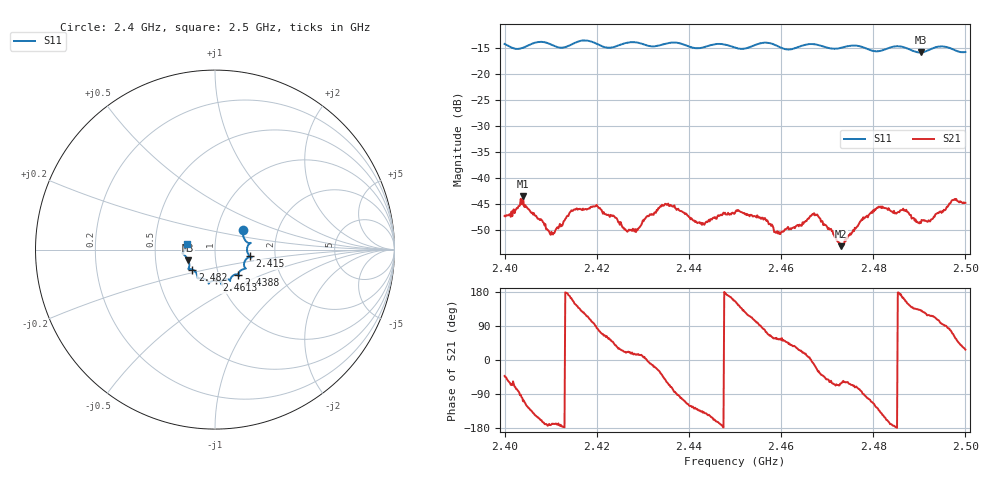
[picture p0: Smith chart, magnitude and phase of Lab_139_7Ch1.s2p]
# Hz S RI R 50
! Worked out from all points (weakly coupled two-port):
!   601 points, 2.4 GHz to 2.5 GHz, reference 50 ohm
!   highest |S21| = -43.39 dB at 2.404 GHz (marker M1); lowest = -53.0 dB at 2.473 GHz (marker M2)
!   lowest |S11| = -15.9 dB at 2.4903 GHz (marker M3), VSWR 1.38, Z = 36.8 - j4.46 ohm
!   |S11| at or under -10 dB: start of sweep to end of sweep
!   S12 and S22 are empty: the file has one direction only
!   S11 on the Smith chart (normalised r, x): 2.4 GHz: 1.33, +0.31; 2.415 GHz: 1.47, -0.11; 2.4388 GHz: 1.24, -0.36; 2.4613 GHz: 0.96, -0.34; 2.482 GHz: 0.76, -0.17; 2.5 GHz: 0.72, +0.05
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2.4e9  0.1579 0.1119  0.00322 -0.00291  0 0  0 0
2.404e9  0.1716 0.0473  -0.00219 -0.0064  0 0  0 0
2.410333e9  0.187 0.028  -0.00288 -0.000621  0 0  0 0
2.415e9  0.1924 -0.0362  -0.00446 0.00223  0 0  0 0
2.416667e9  0.2033 -0.0439  -0.00318 0.00387  0 0  0 0
2.420167e9  0.1878 -0.0431  0.000683 0.0053  0 0  0 0
2.426833e9  0.1705 -0.1046  0.00292 0.00118  0 0  0 0
2.433333e9  0.1323 -0.1313  0.00458 -0.00234  0 0  0 0
2.438833e9  0.1297 -0.1406  -0.0013 -0.00449  0 0  0 0
2.443e9  0.0911 -0.1539  -0.00279 -0.00245  0 0  0 0
2.45e9  0.0689 -0.1648  -0.0042 0.00196  0 0  0 0
2.456333e9  0.0374 -0.1955  0.000641 0.00405  0 0  0 0
2.459333e9  0.0308 -0.181  0.00166 0.00243  0 0  0 0
2.461333e9  0.00768 -0.1712  0.00228 0.00239  0 0  0 0
2.466667e9  -0.035 -0.19  0.00444 -0.000297  0 0  0 0
2.473e9  -0.0781 -0.1595  0.00105 -0.00196  0 0  0 0
2.4775e9  -0.0972 -0.1536  0.000465 -0.004  0 0  0 0
2.482e9  -0.1258 -0.1115  -0.00437 -0.00305  0 0  0 0
2.483333e9  -0.1395 -0.1087  -0.00493 -0.00149  0 0  0 0
2.490333e9  -0.1491 -0.059  -0.00241 0.00282  0 0  0 0
2.4975e9  -0.1702 -0.00644  0.00264 0.00561  0 0  0 0
2.5e9  -0.1588 0.0325  0.00515 0.00267  0 0  0 0
